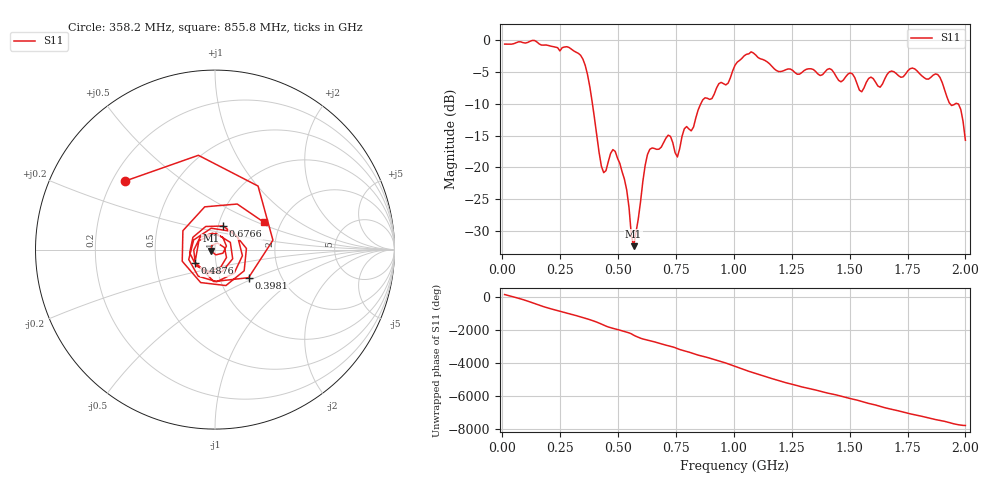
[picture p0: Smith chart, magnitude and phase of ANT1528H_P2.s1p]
!Created with skrf (http://scikit-rf.org).
# Hz S RI R 50.0
!freq ReS11 ImS11
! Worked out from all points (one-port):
!   201 points, 10 MHz to 2 GHz, reference 50 ohm
!   lowest |S11| = -32.3 dB at 567.2 MHz (marker M1), VSWR 1.05, Z = 47.7 - j0.649 ohm
!   |S11| at or under -10 dB: 389.2 MHz to 857.4 MHz (468.2 MHz wide, 75.1 % of centre); 1.934 GHz to 1.957 GHz (23.72 MHz wide, 1.22 % of centre); 1.966 GHz to end of sweep
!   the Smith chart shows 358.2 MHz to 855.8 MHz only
!   S11 on the Smith chart (normalised r, x): 358.2 MHz: 0.25, +0.32; 398.1 MHz: 1.37, -0.46; 487.6 MHz: 0.79, -0.12; 676.6 MHz: 1.06, +0.28; 855.8 MHz: 1.63, +0.55
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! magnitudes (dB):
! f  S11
! 10 MHz  -0.7
! 258.8 MHz  -1.2
! 358.2 MHz  -4.0
! 398.1 MHz  -12.3
! 437.9 MHz  -20.8
! 487.6 MHz  -17.5
! 507.5 MHz  -19.4
! 537.4 MHz  -23.5
! 567.2 MHz  -32.3
! 626.9 MHz  -18.0
! 676.6 MHz  -17.1
! 716.5 MHz  -14.9
! 756.2 MHz  -18.4
! 786.1 MHz  -13.9
! 816 MHz  -14.3
! 855.8 MHz  -10.1
! 1.005 GHz  -4.0
! 1.075 GHz  -1.9
! 1.254 GHz  -4.8
! 1.502 GHz  -5.2
! 1.552 GHz  -8.1
! 1.592 GHz  -5.8
! 1.632 GHz  -7.4
! 1.751 GHz  -4.9
! 1.881 GHz  -5.4
! 1.93 GHz  -9.9
! 1.98 GHz  -10.9
! 2 GHz  -15.7
